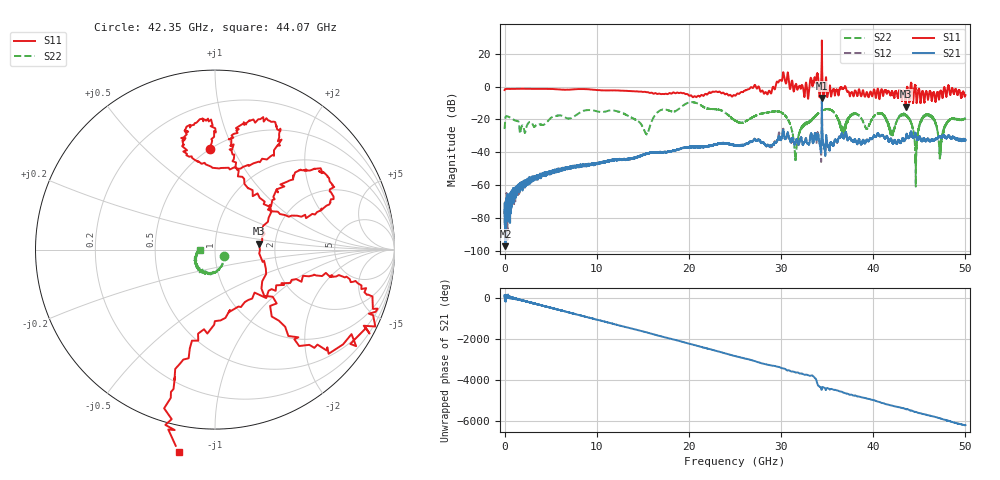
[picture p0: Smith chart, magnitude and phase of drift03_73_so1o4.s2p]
!Created with skrf (http://scikit-rf.org).
# Hz S RI R 50.0
!freq ReS11 ImS11 ReS21 ImS21 ReS12 ImS12 ReS22 ImS22
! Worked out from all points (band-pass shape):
!   10000 points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, 5.3 MHz to 50 GHz, reference 50 ohm
!   highest |S21| = -6.90 dB at 34.43 GHz (marker M1); lowest = -97.3 dB at 100.3 MHz (marker M2)
!   |S21| within 3 dB of the highest: 34.42746 GHz to 34.43481 GHz (7.35 MHz wide, 0.0213 % of centre)
!   lowest |S11| = -12.1 dB at 43.52 GHz (marker M3), VSWR 1.66, Z = 82.2 + j5.8 ohm
!   |S11| at or under -10 dB: 43.4875 GHz to 43.54777 GHz (60.27 MHz wide, 0.139 % of centre); 44.33003 GHz to 44.33004 GHz (8.161 kHz wide, 1.84e-05 % of centre); 44.704 GHz to 44.70708 GHz (3.079 MHz wide, 0.00689 % of centre) (the widest 3 of 4)
!   |S22| runs from -60.9 to -9.5 dB; largest |S21 - S12| = 0.13
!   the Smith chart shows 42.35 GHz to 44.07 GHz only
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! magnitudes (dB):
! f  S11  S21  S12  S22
! 5.3 MHz  -2.1  -83.8  -76.0  -25.9
! 100.3 MHz  -1.5  -97.3  -78.3  -18.7
! 2.455 GHz  -1.4  -57.6  -59.2  -23.4
! 8.34 GHz  -1.5  -48.4  -48.2  -15.3
! 12.46 GHz  -2.4  -44.6  -44.4  -15.4
! 15.4 GHz  -3.5  -41.0  -41.1  -29.0
! 16.67 GHz  -4.4  -40.0  -39.9  -15.3
! 20.45 GHz  -6.5  -36.9  -36.9  -9.5
! 25.01 GHz  -5.5  -35.8  -36.1  -20.8
! 29.96 GHz  3.9  -32.5  -32.3  -15.7
! 31.59 GHz  1.4  -33.8  -34.1  -44.6
! 33.34 GHz  2.6  -30.3  -30.5  -20.3
! 34.43 GHz  28.1  -6.9  -8.8  -14.5
! 36.68 GHz  -1.5  -29.3  -29.7  -30.6
! 37.93 GHz  -4.6  -33.0  -32.8  -16.6
! 41.67 GHz  -2.8  -33.6  -33.4  -23.7
! 43.52 GHz  -12.1  -31.4  -31.6  -17.6
! 44.61 GHz  -1.8  -29.3  -29.2  -45.1
! 45.69 GHz  -3.7  -32.8  -33.0  -17.1
! 47.28 GHz  -3.1  -30.8  -30.9  -42.9
! 48.21 GHz  0.0  -30.0  -29.8  -20.6
! 50 GHz  -5.3  -32.8  -32.2  -19.6
